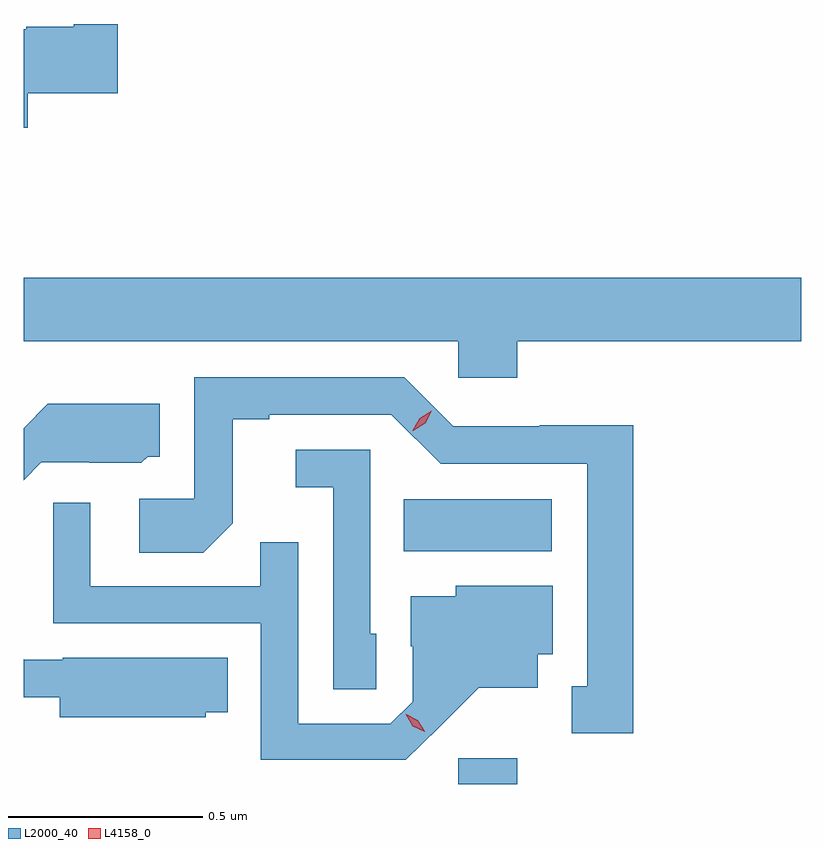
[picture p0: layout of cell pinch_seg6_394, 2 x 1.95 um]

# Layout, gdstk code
import gdstk
lib = gdstk.Library(unit=1e-6, precision=1e-09)
def R(c, l, rs):  # rectangles x0, y0, x1, y1
    for r in rs: c.add(gdstk.rectangle(r[:2], r[2:], *l))
def P(c, l, *ps):  # polygons
    for p in ps: c.add(gdstk.Polygon(p, *l))
L2000_40 = (2000, 40)
L4158_0 = (4158, 0)

pinch_seg6_394 = lib.new_cell('pinch_seg6_394')
R(pinch_seg6_394, L2000_40, [(642.78,924.886,642.932,924.952), (642.64,925.484,643.021,925.618)])
P(pinch_seg6_394, L2000_40, [(641.674,926.662),(641.905,926.662),(641.905,926.84),(641.792,926.84),(641.792,926.833),(641.67,926.833),(641.67,926.827),(641.663,926.827),(641.663,926.573),(641.674,926.573)],
  [(642.932,926.024),(643.663,926.024),(643.663,926.188),(641.663,926.188),(641.663,926.024),(642.78,926.024),(642.78,925.931),(642.932,925.931)],
  [(643.231,925.808),(642.99,925.808),(642.99,925.806),(642.768,925.806),(642.642,925.932),(642.102,925.932),(642.102,925.62),(641.961,925.62),(641.961,925.48),(642.125,925.48),(642.201,925.556),(642.201,925.824),(642.295,925.824),(642.295,925.836),(642.609,925.836),(642.735,925.71),(643.112,925.71),(643.112,925.137),(643.073,925.137),(643.073,925.017),(643.231,925.017)],
  [(641.709,925.713),(641.832,925.713),(641.832,925.712),(641.966,925.712),(641.982,925.728),(642.013,925.728),(642.013,925.864),(641.725,925.864),(641.663,925.801),(641.663,925.667)],
  [(642.57,925.272),(642.555,925.272),(642.555,925.746),(642.363,925.746),(642.363,925.649),(642.459,925.649),(642.459,925.129),(642.57,925.129)],
  [(642.73,925.031),(642.833,925.133),(642.985,925.133),(642.985,925.22),(643.024,925.22),(643.024,925.396),(642.774,925.396),(642.774,925.369),(642.659,925.369),(642.659,925.24),(642.663,925.24),(642.663,925.098),(642.606,925.041),(642.369,925.041),(642.369,925.508),(642.271,925.508),(642.271,925.395),(641.835,925.395),(641.835,925.609),(641.739,925.609),(641.739,925.299),(642.273,925.299),(642.273,924.948),(642.646,924.948)],
  [(642.132,925.07),(642.188,925.07),(642.188,925.21),(641.764,925.21),(641.764,925.206),(641.664,925.206),(641.663,925.207),(641.663,925.109),(641.756,925.109),(641.756,925.058),(642.132,925.058)])
P(pinch_seg6_394, L4158_0, [(642.664,925.794),(642.664,925.795),(642.681,925.827),(642.712,925.846),(642.713,925.846),(642.713,925.846),(642.696,925.814),(642.665,925.794)],
  [(642.695,925.02),(642.664,925.035),(642.646,925.065),(642.646,925.065),(642.647,925.065),(642.677,925.05),(642.695,925.021),(642.695,925.02)])

lib.write_gds('pinch_seg6_394.gds')
